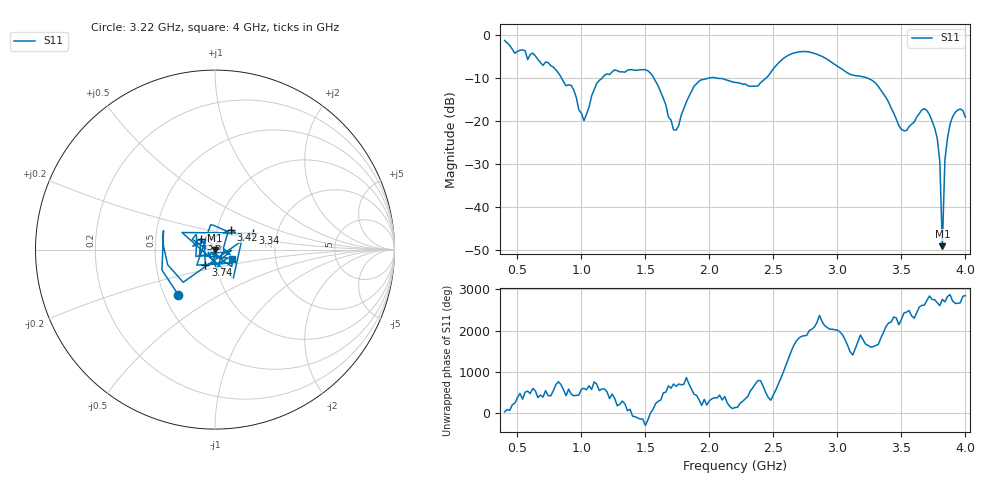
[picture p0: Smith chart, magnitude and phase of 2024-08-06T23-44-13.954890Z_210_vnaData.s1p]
!Created with skrf (http://scikit-rf.org).
# Hz S RI R 50.0
!freq ReS11 ImS11
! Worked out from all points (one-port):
!   181 points, 400 MHz to 4 GHz, reference 50 ohm
!   lowest |S11| = -49.0 dB at 3.82 GHz (marker M1), VSWR 1.01, Z = 49.8 - j0.305 ohm
!   |S11| at or under -10 dB: 1.567 GHz to 1.989 GHz (421.6 MHz wide, 23.7 % of centre); 2.067 GHz to 2.44 GHz (372.4 MHz wide, 16.5 % of centre); 3.241 GHz to end of sweep (the widest 3 of 4)
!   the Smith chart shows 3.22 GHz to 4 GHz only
!   S11 on the Smith chart (normalised r, x): 3.22 GHz: 0.59, -0.33; 3.34 GHz: 1.50, +0.29; 3.42 GHz: 1.16, +0.26; 3.6 GHz: 0.85, +0.11; 3.74 GHz: 0.88, -0.15; 4 GHz: 1.21, -0.13
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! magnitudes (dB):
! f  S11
! 400 MHz  -1.2
! 860 MHz  -10.8
! 940 MHz  -12.7
! 1.02 GHz  -19.9
! 1.12 GHz  -11.2
! 1.3 GHz  -8.5
! 1.52 GHz  -8.3
! 1.72 GHz  -22.0
! 1.76 GHz  -21.0
! 1.92 GHz  -10.6
! 2.2 GHz  -10.9
! 2.38 GHz  -11.8
! 2.66 GHz  -4.1
! 3.1 GHz  -9.1
! 3.22 GHz  -9.8
! 3.34 GHz  -12.8
! 3.42 GHz  -16.9
! 3.5 GHz  -21.9
! 3.56 GHz  -21.2
! 3.6 GHz  -20.2
! 3.68 GHz  -17.1
! 3.74 GHz  -19.9
! 3.8 GHz  -29.3
! 3.82 GHz  -49.0
! 3.84 GHz  -28.9
! 3.86 GHz  -23.9
! 3.92 GHz  -17.9
! 4 GHz  -19.1
